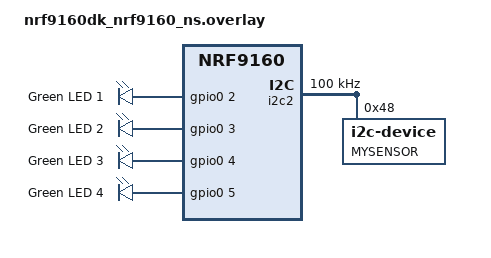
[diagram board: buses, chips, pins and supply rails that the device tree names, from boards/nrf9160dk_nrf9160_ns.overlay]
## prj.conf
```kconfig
#
# Copyright (c) 2021 Nordic Semiconductor ASA
#
# SPDX-License-Identifier: LicenseRef-Nordic-5-Clause
#

# JDS added for I2C support
#CONFIG_I2C=y
#CONFIG_SENSOR=y

# General config
CONFIG_NEWLIB_LIBC=y
CONFIG_NEWLIB_LIBC_FLOAT_PRINTF=y
CONFIG_ASSERT=y
CONFIG_REBOOT=y
CONFIG_FPU=y

# Heap and stacks
CONFIG_HEAP_MEM_POOL_SIZE=47250
CONFIG_MAIN_STACK_SIZE=1408
CONFIG_SYSTEM_WORKQUEUE_STACK_SIZE=4096
CONFIG_HW_STACK_PROTECTION=y
# Increase AT monitor heap size to be able to fit both neighbor cell measurement
# and other AT notifications that may come in rapid succession.
CONFIG_AT_MONITOR_HEAP_SIZE=1024

# Logging
CONFIG_LOG=y
CONFIG_LOG_MODE_DEFERRED=y

# nRF modem library
CONFIG_NRF_MODEM_LIB=y

# AT Host library - Used to send AT commands directy from an UART terminal and to allow
#		    integration with nRF Connect for Desktop LTE Link monitor application.
CONFIG_AT_HOST_LIBRARY=y

# Network
CONFIG_NETWORKING=y
CONFIG_NET_NATIVE=n
CONFIG_NET_SOCKETS=y
CONFIG_NET_SOCKETS_OFFLOAD=y
CONFIG_NET_IPV6=y
CONFIG_NET_IPV4=y

# LTE link control
CONFIG_LTE_AUTO_INIT_AND_CONNECT=n
CONFIG_LTE_NETWORK_MODE_LTE_M_GPS=y
## Power saving timers.
### 320 hours PSM.
CONFIG_LTE_PSM_REQ_RPTAU="11000001"
### 20 seconds active time.
CONFIG_LTE_PSM_REQ_RAT="00001010"

# Settings - Used to store real-time device configuration to flash.
CONFIG_SETTINGS=y
CONFIG_SETTINGS_FCB=y
CONFIG_FCB=y

# FOTA
CONFIG_FOTA_DOWNLOAD=y
CONFIG_DFU_TARGET=y
CONFIG_DOWNLOAD_CLIENT=y
CONFIG_DOWNLOAD_CLIENT_HTTP_FRAG_SIZE_1024=y
CONFIG_DOWNLOAD_CLIENT_STACK_SIZE=4096
CONFIG_DOWNLOAD_CLIENT_BUF_SIZE=2300
CONFIG_DOWNLOAD_CLIENT_MAX_HOSTNAME_SIZE=128

# Flash - Used in FOTA, settings and storage for P-GPS.
CONFIG_FLASH=y
CONFIG_FLASH_PAGE_LAYOUT=y
CONFIG_FLASH_MAP=y
CONFIG_STREAM_FLASH=y
CONFIG_MPU_ALLOW_FLASH_WRITE=y

# MCUBOOT
CONFIG_BOOTLOADER_MCUBOOT=y
CONFIG_IMG_MANAGER=y
CONFIG_MCUBOOT_IMG_MANAGER=y
CONFIG_IMG_ERASE_PROGRESSIVELY=y
CONFIG_SECURE_BOOT=y
CONFIG_BUILD_S1_VARIANT=y

# Watchdog
CONFIG_WATCHDOG_APPLICATION=y

# Application Event Manager
CONFIG_APP_EVENT_MANAGER=y
CONFIG_APP_EVENT_MANAGER_LOG_EVENT_TYPE=n

# cJSON - Used in cloud data encoding.
CONFIG_CJSON_LIB=y

# CAF - Common Application Framework
CONFIG_CAF=y
CONFIG_LED=y
CONFIG_CAF_LEDS=y
CONFIG_CAF_INIT_LOG_LED_READY_EVENTS=n
CONFIG_CAF_INIT_LOG_LED_EVENTS=n
CONFIG_CAF_INIT_LOG_MODULE_STATE_EVENTS=n

# Default cloud transport service
CONFIG_NRF_CLOUD_MQTT=y
```

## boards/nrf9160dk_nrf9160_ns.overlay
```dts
/	{
	/delete-node/ leds;

	leds0 {
		compatible = "gpio-leds";
		status = "okay";
		label = "LED0";
		led0: led_0 {
			status = "okay";
			gpios = <&gpio0 2 0>;
			label = "Green LED 1";
		};
	};

	leds1 {
		compatible = "gpio-leds";
		status = "okay";
		label = "LED1";
		led1: led_1 {
			gpios = <&gpio0 3 0>;
			label = "Green LED 2";
		};
	};

	leds2 {
		compatible = "gpio-leds";
		status = "okay";
		label = "LED2";
		led2: led_2 {
			gpios = <&gpio0 4 0>;
			label = "Green LED 3";
		};
	};

	leds3 {
		compatible = "gpio-leds";
		status = "okay";
		label = "LED3";
		led3: led_3 {
			gpios = <&gpio0 5 0>;
			label = "Green LED 4";
		};
	};
};


&i2c2 { /* SDA P0.26, SCL P0.27, ALERT P0.11 */
	status = "okay";
	clock-frequency = <I2C_BITRATE_STANDARD>;
	mysensor: mysensor@48 {
		compatible = "i2c-device";
		reg = <0x48>;
		label = "MYSENSOR";
//		int-gpios = <&gpio0 11 GPIO_ACTIVE_LOW>;
	};
};
```

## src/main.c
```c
/*
 * Copyright (c) 2021 Nordic Semiconductor ASA
 *
 * SPDX-License-Identifier: LicenseRef-Nordic-5-Clause
 */

#include <zephyr/kernel.h>
#include <stdio.h>
#include <string.h>
#include <stdlib.h>
#include <app_event_manager.h>
#if defined(CONFIG_NRF_MODEM_LIB)
#include <modem/nrf_modem_lib.h>
#endif /* CONFIG_NRF_MODEM_LIB */
#include <zephyr/sys/reboot.h>
#include <net/lwm2m_client_utils_fota.h>
#include <net/nrf_cloud.h>

#if defined(CONFIG_NRF_CLOUD_AGPS) || defined(CONFIG_NRF_CLOUD_PGPS)
#include <net/nrf_cloud_agps.h>
#endif

/* Module name is used by the Application Event Manager macros in this file */
#define MODULE main
#include <caf/events/module_state_event.h>

#include "modules_common.h"
#include "events/app_module_event.h"
#include "events/cloud_module_event.h"
#include "events/data_module_event.h"
#include "events/sensor_module_event.h"
#include "events/ui_module_event.h"
#include "events/util_module_event.h"
#include "events/modem_module_event.h"
#include "events/led_state_event.h"

#include <zephyr/logging/log.h>
#include <zephyr/logging/log_ctrl.h>

LOG_MODULE_REGISTER(MODULE, CONFIG_APPLICATION_MODULE_LOG_LEVEL);

// JDS added for I2C coms
//#include <zephyr/drivers/i2c.h>
//#define  DT_NODELABEL(mysensor)
//

/* Message structure. Events from other modules are converted to messages
 * in the Application Event Manager handler, and then queued up in the message queue
 * for processing in the main thread.
 */
struct app_msg_data {
	union {
		struct cloud_module_event cloud;
		struct ui_module_event ui;
		struct sensor_module_event sensor;
		struct data_module_event data;
		struct util_module_event util;
		struct modem_module_event modem;
		struct app_module_event app;
	} module;
};

/* Application module super states. */
static enum state_type {
	STATE_INIT,
	STATE_RUNNING,
	STATE_SHUTDOWN
} state;

/* Application sub states. The application can be in either active or passive
 * mode.
 *
 * Active mode: Sensor data and GNSS position is acquired at a configured
 *		interval and sent to cloud.
 *
 * Passive mode: Sensor data and GNSS position is acquired when movement is
 *		 detected, or after the configured movement timeout occurs.
 */
static enum sub_state_type {
	SUB_STATE_ACTIVE_MODE,
	SUB_STATE_PASSIVE_MODE,
} sub_state;

/* Internal copy of the device configuration. */
static struct cloud_data_cfg app_cfg;

/* Variable that keeps track whether modem static data has been successfully sampled by the
 * modem module. Modem static data does not change and only needs to be sampled and sent to cloud
 * once.
 */
static bool modem_static_sampled;

/* Timer callback used to signal when timeout has occurred both in active
 * and passive mode.
 */
static void data_sample_timer_handler(struct k_timer *timer);

/* Timer callback used to reset the activity trigger flag */
static void movement_resolution_timer_handler(struct k_timer *timer);

/* Application module message queue. */
#define APP_QUEUE_ENTRY_COUNT		10
#define APP_QUEUE_BYTE_ALIGNMENT	4

/* Data fetching timeouts */
#define DATA_FETCH_TIMEOUT_DEFAULT 2
/* Use a timeout of 11 seconds to accommodate for neighbour cell measurements
 * that can take up to 10.24 seconds.
 */
#define DATA_FETCH_TIMEOUT_NEIGHBORHOOD_SEARCH 11

/* Flag to prevent multiple activity events within one movement resolution cycle */
static bool activity_triggered = true;
static bool inactivity_triggered = true;

K_MSGQ_DEFINE(msgq_app, sizeof(struct app_msg_data), APP_QUEUE_ENTRY_COUNT,
	      APP_QUEUE_BYTE_ALIGNMENT);

/* Data sample timer used in active mode. */
K_TIMER_DEFINE(data_sample_timer, data_sample_timer_handler, NULL);

/* Movement timer used to detect movement timeouts in passive mode. */
K_TIMER_DEFINE(movement_timeout_timer, data_sample_timer_handler, NULL);

/* Movement resolution timer decides the period after movement that consecutive
 * movements are ignored and do not cause data collection. This is used to
 * lower power consumption by limiting how often GNSS search is performed and
 * data is sent on air.
 */
K_TIMER_DEFINE(movement_resolution_timer, movement_resolution_timer_handler, NULL);

/* Module data structure to hold information of the application module, which
 * opens up for using convenience functions available for modules.
 */
static struct module_data self = {
	.name = "app",
	.msg_q = &msgq_app,
	.supports_shutdown = true,
};

#if defined(CONFIG_NRF_MODEM_LIB)
NRF_MODEM_LIB_ON_INIT(asset_tracker_init_hook, on_modem_lib_init, NULL);

/* Initialized to value different than success (0) */
static int modem_lib_init_result = -1;

static void on_modem_lib_init(int ret, void *ctx)
{
	modem_lib_init_result = ret;
}
#endif /* CONFIG_NRF_MODEM_LIB */

/* Convenience functions used in internal state handling. */
static char *state2str(enum state_type new_state)
{
	switch (new_state) {
	case STATE_INIT:
		return "STATE_INIT";
	case STATE_RUNNING:
		return "STATE_RUNNING";
	case STATE_SHUTDOWN:
		return "STATE_SHUTDOWN";
	default:
		return "Unknown";
	}
}

static char *sub_state2str(enum sub_state_type new_state)
{
	switch (new_state) {
	case SUB_STATE_ACTIVE_MODE:
		return "SUB_STATE_ACTIVE_MODE";
	case SUB_STATE_PASSIVE_MODE:
		return "SUB_STATE_PASSIVE_MODE";
	default:
		return "Unknown";
	}
}

static void state_set(enum state_type new_state)
{
	if (new_state == state) {
		LOG_DBG("State: %s", state2str(state));
		return;
	}

	LOG_DBG("State transition %s --> %s",
		state2str(state),
		state2str(new_state));

	state = new_state;
}

static void sub_state_set(enum sub_state_type new_state)
{
	if (new_state == sub_state) {
		LOG_DBG("Sub state: %s", sub_state2str(sub_state));
		return;
	}

	LOG_DBG("Sub state transition %s --> %s",
		sub_state2str(sub_state),
		sub_state2str(new_state));

	sub_state = new_state;
}

#if defined(CONFIG_LWM2M_INTEGRATION)
static void lwm2m_update_modem_fota_counter(void)
{
	int ret;
	struct update_counter counter = { 0 };

	ret = fota_settings_init();
	if (ret) {
		LOG_WRN("Unable to init settings, error: %d", ret);
		return;
	}

	ret = fota_update_counter_read(&counter);
	if (ret) {
		LOG_ERR("Failed read the update counter, error: %d", ret);
		return;
	}

	if (counter.update != -1) {
		ret = fota_update_counter_update(COUNTER_CURRENT, counter.update);
		if (ret) {
			LOG_ERR("Failed to update the update counter, error: %d", ret);
			return;
		}
	}
}
#endif /* CONFIG_LWM2M_INTEGRATION */

/* Check the return code from nRF modem library initialization to ensure that
 * the modem is rebooted if a modem firmware update is ready to be applied or
 * an error condition occurred during firmware update or library initialization.
 */
static void handle_nrf_modem_lib_init_ret(void)
{
#if defined(CONFIG_NRF_MODEM_LIB)
	int ret = modem_lib_init_result;

	/* Handle return values relating to modem firmware update */
	switch (ret) {
	case 0:
		/* Initialization successful, no action required. */
		return;
	case MODEM_DFU_RESULT_OK:
		LOG_WRN("MODEM UPDATE OK. Will run new modem firmware after reboot");
#if defined(CONFIG_LWM2M_INTEGRATION)
		lwm2m_update_modem_fota_counter();
#endif
		break;
	case MODEM_DFU_RESULT_UUID_ERROR:
	case MODEM_DFU_RESULT_AUTH_ERROR:
		LOG_ERR("MODEM UPDATE ERROR %d. Will run old firmware", ret);
		break;
	case MODEM_DFU_RESULT_HARDWARE_ERROR:
	case MODEM_DFU_RESULT_INTERNAL_ERROR:
		LOG_ERR("MODEM UPDATE FATAL ERROR %d. Modem failure", ret);
		break;
	default:
		/* All non-zero return codes other than DFU result codes are
		 * considered irrecoverable and a reboot is needed.
		 */
		LOG_ERR("nRF modem lib initialization failed, error: %d", ret);
		break;
	}

#if defined(CONFIG_NRF_CLOUD_FOTA)
	/* Ignore return value, rebooting below */
	(void)nrf_cloud_fota_pending_job_validate(NULL);
#endif

	LOG_WRN("Rebooting...");
	LOG_PANIC();
	sys_reboot(SYS_REBOOT_COLD);
#endif /* CONFIG_NRF_MODEM_LIB */
}

/* Application Event Manager handler. Puts event data into messages and adds them to the
 * application message queue.
 */
static bool app_event_handler(const struct app_event_header *aeh)
{
	struct app_msg_data msg = {0};
	bool enqueue_msg = false;

	if (is_cloud_module_event(aeh)) {
		struct cloud_module_event *evt = cast_cloud_module_event(aeh);

		msg.module.cloud = *evt;
		enqueue_msg = true;
	}

	if (is_app_module_event(aeh)) {
		struct app_module_event *evt = cast_app_module_event(aeh);

		msg.module.app = *evt;
		enqueue_msg = true;
	}

	if (is_data_module_event(aeh)) {
		struct data_module_event *evt = cast_data_module_event(aeh);

		msg.module.data = *evt;
		enqueue_msg = true;
	}

	if (is_sensor_module_event(aeh)) {
		struct sensor_module_event *evt = cast_sensor_module_event(aeh);
// JDS
		static int64_t lastUpdateTimestamp = 0;
		static int64_t sensorRunCount = 0;
		sensorRunCount++;
		int64_t currentUpdateTimestamp = k_uptime_get();
		if ( (currentUpdateTimestamp - lastUpdateTimestamp) > 1000 ) 
		{
			printk("\n\nts, %lld , sensorRunCount, %lld\n\n\n", currentUpdateTimestamp, sensorRunCount);
			lastUpdateTimestamp = currentUpdateTimestamp;
			sensorRunCount = 0;
		}
//
		msg.module.sensor = *evt;
		enqueue_msg = true;
	}

	if (is_util_module_event(aeh)) {
		struct util_module_event *evt = cast_util_module_event(aeh);

		msg.module.util = *evt;
		enqueue_msg = true;
	}

	if (is_modem_module_event(aeh)) {
		struct modem_module_event *evt = cast_modem_module_event(aeh);

		msg.module.modem = *evt;
		enqueue_msg = true;
	}

	if (is_ui_module_event(aeh)) {
		struct ui_module_event *evt = cast_ui_module_event(aeh);

		msg.module.ui = *evt;
		enqueue_msg = true;
	}

	if (enqueue_msg) {
		int err = module_enqueue_msg(&self, &msg);

		if (err) {
			LOG_ERR("Message could not be enqueued");
			SEND_ERROR(app, APP_EVT_ERROR, err);
		}
	}

	return false;
}

static bool is_agps_processed(void)
{
#if defined(CONFIG_NRF_CLOUD_AGPS) || defined(CONFIG_NRF_CLOUD_PGPS)
	struct nrf_modem_gnss_agps_data_frame processed;

	nrf_cloud_agps_processed(&processed);

	if (!processed.sv_mask_ephe) {
		return false;
	}

#endif /* CONFIG_NRF_CLOUD_AGPS || CONFIG_NRF_CLOUD_PGPS */

	return true;
}

static bool request_gnss(void)
{
	uint32_t uptime_current_ms = k_uptime_get();
	int agps_wait_threshold_ms = CONFIG_APP_REQUEST_GNSS_WAIT_FOR_AGPS_THRESHOLD_SEC *
				     MSEC_PER_SEC;

	if (!IS_ENABLED(CONFIG_GNSS_MODULE)) {
		return false;
	}

	if (!IS_ENABLED(CONFIG_APP_REQUEST_GNSS_WAIT_FOR_AGPS)) {
		return true;
	} else if (agps_wait_threshold_ms < 0) {
		/* If CONFIG_APP_REQUEST_GNSS_WAIT_FOR_AGPS_THRESHOLD_SEC is set to -1,
		 * we need to notify the data module that the application module is awaiting
		 * A-GPS data in order to request GNSS. If not, GNSS will never be
		 * requested if the initial A-GPS data request fails.
		 */
		if (is_agps_processed()) {
			return true;
		}

		SEND_EVENT(app, APP_EVT_AGPS_NEEDED);
		return false;

	} else if ((agps_wait_threshold_ms < uptime_current_ms) || is_agps_processed()) {
		return true;
	}

	return false;
}

static void data_sample_timer_handler(struct k_timer *timer)
{
	ARG_UNUSED(timer);
	SEND_EVENT(app, APP_EVT_DATA_GET_ALL);
}

static void movement_resolution_timer_handler(struct k_timer *timer)
{
	ARG_UNUSED(timer);
	activity_triggered = false;
	inactivity_triggered = false;
}

/* Static module functions. */
static void passive_mode_timers_start_all(void)
{
	LOG_DBG("Device mode: Passive");
	LOG_DBG("Start movement timeout: %d seconds interval", app_cfg.movement_timeout);

	LOG_DBG("%d seconds until movement can trigger a new data sample/publication",
		app_cfg.movement_resolution);

	k_timer_start(&movement_resolution_timer,
		      K_SECONDS(app_cfg.movement_resolution),
		      K_SECONDS(0));

	k_timer_start(&movement_timeout_timer,
		      K_SECONDS(app_cfg.movement_timeout),
		      K_SECONDS(app_cfg.movement_timeout));

	k_timer_stop(&data_sample_timer);
}

static void active_mode_timers_start_all(void)
{
	LOG_DBG("Device mode: Active");
	LOG_DBG("Start data sample timer: %d seconds interval", app_cfg.active_wait_timeout);

	k_timer_start(&data_sample_timer,
		      K_SECONDS(app_cfg.active_wait_timeout),
		      K_SECONDS(app_cfg.active_wait_timeout));

	k_timer_stop(&movement_resolution_timer);
	k_timer_stop(&movement_timeout_timer);
}

static void data_get(void)
{
	struct app_module_event *app_module_event = new_app_module_event();
	size_t count = 0;

	/* Set a low sample timeout. If GNSS is requested, the sample timeout will be increased to
	 * accommodate the GNSS timeout.
	 */
	app_module_event->timeout = DATA_FETCH_TIMEOUT_DEFAULT;

	/* Specify which data that is to be included in the transmission. */
	app_module_event->data_list[count++] = APP_DATA_MODEM_DYNAMIC;
	app_module_event->data_list[count++] = APP_DATA_BATTERY;
	app_module_event->data_list[count++] = APP_DATA_ENVIRONMENTAL;

	if (!modem_static_sampled) {
		app_module_event->data_list[count++] = APP_DATA_MODEM_STATIC;
	}

	if (!app_cfg.no_data.neighbor_cell) {
		app_module_event->data_list[count++] = APP_DATA_NEIGHBOR_CELLS;
		app_module_event->timeout = DATA_FETCH_TIMEOUT_NEIGHBORHOOD_SEARCH;
	}

	/* The reason for having at least 75 seconds sample timeout when
	 * requesting GNSS data is that the GNSS module on the nRF9160 modem will always
	 * search for at least 60 seconds for the first position fix after a reboot. This limit
	 * is enforced in order to give the modem time to perform scheduled downloads of
	 * A-GPS data from the GNSS satellites.
	 *
	 * However, if A-GPS data has been downloaded via the cloud connection and processed
	 * before the initial GNSS search, the actual GNSS timeout set by the application is used.
	 *
	 * Processing A-GPS before requesting GNSS data is enabled by default,
	 * and the time that the application will wait for A-GPS data before including GNSS
	 * in sample requests can be adjusted via the
	 * CONFIG_APP_REQUEST_GNSS_WAIT_FOR_AGPS_THRESHOLD_SEC Kconfig option. If this option is
	 * set to -1, the application module will not request GNSS unless A-GPS data has been
	 * processed.
	 *
	 * If A-GPS data has been processed the sample timeout can be ignored as the
	 * GNSS will most likely time out before the sample timeout expires.
	 *
	 * When GNSS is requested, set the sample timeout to (GNSS timeout + 15 seconds)
	 * to let the GNSS module finish ongoing searches before data is sent to cloud.
	 */

	if (request_gnss() && !app_cfg.no_data.gnss) {
		app_module_event->data_list[count++] = APP_DATA_GNSS;
		app_module_event->timeout = MAX(app_cfg.gnss_timeout + 15, 75);
	}

	/* Set list count to number of data types passed in app_module_event. */
	app_module_event->count = count;
	app_module_event->type = APP_EVT_DATA_GET;

	APP_EVENT_SUBMIT(app_module_event);
}

/* Message handler for STATE_INIT. */
static void on_state_init(struct app_msg_data *msg)
{
	if (IS_EVENT(msg, data, DATA_EVT_CONFIG_INIT)) {
		/* Keep a copy of the new configuration. */
		app_cfg = msg->module.data.data.cfg;

		if (app_cfg.active_mode) {
			active_mode_timers_start_all();
		} else {
			passive_mode_timers_start_all();
		}

		state_set(STATE_RUNNING);
		sub_state_set(app_cfg.active_mode ? SUB_STATE_ACTIVE_MODE :
						    SUB_STATE_PASSIVE_MODE);
	}
}

/* Message handler for STATE_RUNNING. */
static void on_state_running(struct app_msg_data *msg)
{
	if (IS_EVENT(msg, cloud, CLOUD_EVT_CONNECTED)) {
		data_get();
	}

	if (IS_EVENT(msg, app, APP_EVT_DATA_GET_ALL)) {
		data_get();
	}
}

/* Message handler for SUB_STATE_PASSIVE_MODE. */
void on_sub_state_passive(struct app_msg_data *msg)
{
	if (IS_EVENT(msg, data, DATA_EVT_CONFIG_READY)) {
		/* Keep a copy of the new configuration. */
		app_cfg = msg->module.data.data.cfg;

		if (app_cfg.active_mode) {
			active_mode_timers_start_all();
			sub_state_set(SUB_STATE_ACTIVE_MODE);
			return;
		}

		passive_mode_timers_start_all();
	}

	if ((IS_EVENT(msg, ui, UI_EVT_BUTTON_DATA_READY)) ||
	    (IS_EVENT(msg, sensor, SENSOR_EVT_MOVEMENT_ACTIVITY_DETECTED)) ||
	    (IS_EVENT(msg, sensor, SENSOR_EVT_MOVEMENT_IMPACT_DETECTED))) {
		if (IS_EVENT(msg, ui, UI_EVT_BUTTON_DATA_READY) &&
		    msg->module.ui.data.ui.button_number != 2) {
			return;
		}

		if (IS_EVENT(msg, sensor, SENSOR_EVT_MOVEMENT_ACTIVITY_DETECTED)) {
			if (activity_triggered) {
				return;
			}
			activity_triggered = true;
		}

		/* Trigger a sample request if button 2 has been pushed on the DK or activity has
		 * been detected. The data request can only be triggered if the movement
		 * resolution timer has timed out.
		 */

		if (k_timer_remaining_get(&movement_resolution_timer) == 0) {
			data_sample_timer_handler(NULL);
			passive_mode_timers_start_all();
		}
	}
	if (IS_EVENT(msg, sensor, SENSOR_EVT_MOVEMENT_INACTIVITY_DETECTED)
	    && k_timer_remaining_get(&movement_resolution_timer) != 0) {
		/* Trigger a sample request if there has been inactivity after
		 * activity was triggered.
		 */
		if (!inactivity_triggered) {
			data_sample_timer_handler(NULL);
			inactivity_triggered = true;
		}
	}
}

/* Message handler for SUB_STATE_ACTIVE_MODE. */
static void on_sub_state_active(struct app_msg_data *msg)
{
	if (IS_EVENT(msg, data, DATA_EVT_CONFIG_READY)) {
		/* Keep a copy of the new configuration. */
		app_cfg = msg->module.data.data.cfg;

		if (!app_cfg.active_mode) {
			passive_mode_timers_start_all();
			sub_state_set(SUB_STATE_PASSIVE_MODE);
			return;
		}

		active_mode_timers_start_all();
	}
}

/* Message handler for all states. */
static void on_all_events(struct app_msg_data *msg)
{
	if (IS_EVENT(msg, util, UTIL_EVT_SHUTDOWN_REQUEST)) {
		k_timer_stop(&data_sample_timer);
		k_timer_stop(&movement_timeout_timer);
		k_timer_stop(&movement_resolution_timer);

		SEND_SHUTDOWN_ACK(app, APP_EVT_SHUTDOWN_READY, self.id);
		state_set(STATE_SHUTDOWN);
	}

	if (IS_EVENT(msg, modem, MODEM_EVT_MODEM_STATIC_DATA_READY)) {
		modem_static_sampled = true;
	}
}

void main(void)
{
	int err;
	struct app_msg_data msg = { 0 };

	if (!IS_ENABLED(CONFIG_LWM2M_CARRIER)) {
		handle_nrf_modem_lib_init_ret();
	}

	if (app_event_manager_init()) {
		/* Without the Application Event Manager, the application will not work
		 * as intended. A reboot is required in an attempt to recover.
		 */
		LOG_ERR("Application Event Manager could not be initialized, rebooting...");
		k_sleep(K_SECONDS(5));
		sys_reboot(SYS_REBOOT_COLD);
	} else {
		module_set_state(MODULE_STATE_READY);
		SEND_EVENT(app, APP_EVT_START);
	}

	self.thread_id = k_current_get();

	err = module_start(&self);
	if (err) {
		LOG_ERR("Failed starting module, error: %d", err);
		SEND_ERROR(app, APP_EVT_ERROR, err);
	}

	while (true) {
		module_get_next_msg(&self, &msg);

// JDS
		static int64_t lastUpdateTimestamp = 0;
		static int64_t mainRunCount = 0;
		mainRunCount++;
		int64_t currentUpdateTimestamp = k_uptime_get();
		if ( (currentUpdateTimestamp - lastUpdateTimestamp) > 1000 ) 
		{
			printk("\n\nts, %lld , mainRunCount, %lld\n\n\n", currentUpdateTimestamp, mainRunCount);
			lastUpdateTimestamp = currentUpdateTimestamp;
			mainRunCount = 0;
		}
//

		switch (state) {
		case STATE_INIT:
			on_state_init(&msg);
			break;
		case STATE_RUNNING:
			switch (sub_state) {
			case SUB_STATE_ACTIVE_MODE:
				on_sub_state_active(&msg);
				break;
			case SUB_STATE_PASSIVE_MODE:
				on_sub_state_passive(&msg);
				break;
			default:
				LOG_WRN("Unknown application sub state");
				break;
			}

			on_state_running(&msg);
			break;
		case STATE_SHUTDOWN:
			/* The shutdown state has no transition. */
			break;
		default:
			LOG_WRN("Unknown application state");
			break;
		}

		on_all_events(&msg);
	}
}

APP_EVENT_LISTENER(MODULE, app_event_handler);
APP_EVENT_SUBSCRIBE_EARLY(MODULE, cloud_module_event);
APP_EVENT_SUBSCRIBE(MODULE, app_module_event);
APP_EVENT_SUBSCRIBE(MODULE, data_module_event);
APP_EVENT_SUBSCRIBE(MODULE, util_module_event);
APP_EVENT_SUBSCRIBE_FINAL(MODULE, ui_module_event);
APP_EVENT_SUBSCRIBE_FINAL(MODULE, sensor_module_event);
APP_EVENT_SUBSCRIBE_FINAL(MODULE, modem_module_event);
```
